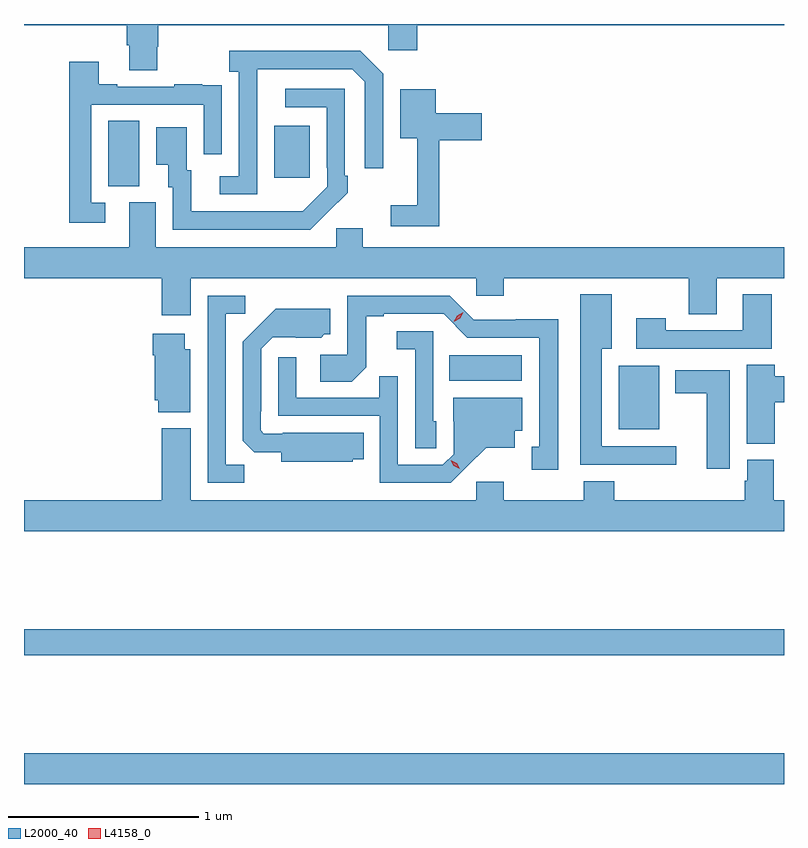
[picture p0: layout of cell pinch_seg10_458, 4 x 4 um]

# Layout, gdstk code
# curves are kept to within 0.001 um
import gdstk
lib = gdstk.Library(unit=1e-6, precision=1e-09)
def R(c, l, rs):  # rectangles x0, y0, x1, y1
    for r in rs: c.add(gdstk.rectangle(r[:2], r[2:], *l))
def P(c, l, *ps):  # polygons
    for p in ps: c.add(gdstk.Polygon(p, *l))
L2000_40 = (2000, 40)
L4158_0 = (4158, 0)

pinch_seg10_458 = lib.new_cell('pinch_seg10_458')
R(pinch_seg10_458, L2000_40, [(280.317,1296.322,284.317,1296.484), (280.317,1297,284.317,1297.136), (283.448,1298.189,283.66,1298.524), (282.556,1298.444,282.937,1298.578), (280.76,1299.469,280.924,1299.812), (281.633,1299.513,281.821,1299.787)])
P(pinch_seg10_458, L2000_40, [(281.019,1300.203),(281.024,1300.203),(281.024,1300.316),(282.234,1300.316),(282.234,1300.185),(282.386,1300.185),(282.386,1300.316),(284.317,1300.316),(284.317,1300.322),(280.317,1300.322),(280.317,1300.316),(280.859,1300.316),(280.859,1300.21),(280.871,1300.21),(280.871,1300.078),(281.019,1300.078)],
  [(281.544,1299.883),(281.545,1300.083),(282.045,1300.083),(282.111,1300.017),(282.111,1299.564),(282.207,1299.564),(282.207,1300.059),(282.086,1300.18),(281.397,1300.18),(281.397,1300.07),(281.448,1300.07),(281.448,1299.522),(281.346,1299.522),(281.346,1299.426),(281.544,1299.426)],
  [(280.744,1299.381),(280.671,1299.381),(280.671,1299.897),(281.262,1299.897),(281.262,1299.636),(281.358,1299.636),(281.358,1299.89),(281.357,1299.89),(281.357,1299.999),(281.255,1299.999),(281.255,1300.006),(281.107,1300.006),(281.107,1299.993),(280.807,1299.993),(280.807,1300.006),(280.711,1300.006),(280.711,1300.123),(280.555,1300.123),(280.555,1299.276),(280.744,1299.276)],
  [(281.915,1299.331),(281.916,1299.33),(282.021,1299.435),(282.021,1299.523),(282.006,1299.523),(282.006,1299.981),(281.691,1299.981),(281.691,1299.885),(281.91,1299.885),(281.91,1299.565),(281.913,1299.565),(281.913,1299.465),(281.785,1299.337),(281.197,1299.336),(281.197,1299.552),(281.173,1299.552),(281.173,1299.778),(281.012,1299.778),(281.012,1299.581),(281.075,1299.581),(281.075,1299.462),(281.1,1299.462),(281.1,1299.24),(281.824,1299.24)],
  [(282.503,1299.71),(282.727,1299.71),(282.727,1299.852),(282.484,1299.852),(282.484,1299.979),(282.296,1299.979),(282.296,1299.722),(282.386,1299.722),(282.386,1299.367),(282.246,1299.367),(282.246,1299.258),(282.503,1299.258)],
  [(281.194,1298.984),(282.696,1298.984),(282.696,1298.891),(282.843,1298.891),(282.843,1298.984),(283.816,1298.984),(283.816,1298.794),(283.963,1298.794),(283.963,1298.984),(284.317,1298.984),(284.317,1299.148),(282.1,1299.148),(282.1,1299.246),(281.961,1299.246),(281.961,1299.148),(281.011,1299.148),(281.011,1299.384),(280.871,1299.384),(280.871,1299.148),(280.317,1299.148),(280.317,1298.984),(281.042,1298.984),(281.042,1298.79),(281.194,1298.79)],
  [(284.252,1298.899),(284.099,1298.899),(284.099,1298.709),(283.695,1298.709),(283.695,1298.773),(283.539,1298.773),(283.539,1298.613),(284.252,1298.613)],
  [(283.75,1298.1),(283.357,1298.1),(283.357,1298.612),(283.411,1298.612),(283.411,1298.899),(283.244,1298.899),(283.244,1298.003),(283.75,1298.003)],
  [(281.475,1298.003),(281.379,1298.003),(281.379,1298.796),(281.482,1298.796),(281.482,1298.892),(281.283,1298.892),(281.283,1297.908),(281.475,1297.908)],
  [(283.129,1298.768),(282.906,1298.768),(282.906,1298.766),(282.684,1298.766),(282.558,1298.892),(282.018,1298.892),(282.018,1298.58),(281.877,1298.58),(281.877,1298.44),(282.041,1298.44),(282.117,1298.516),(282.117,1298.784),(282.211,1298.784),(282.211,1298.796),(282.525,1298.796),(282.651,1298.67),(283.028,1298.67),(283.028,1298.097),(282.989,1298.097),(282.989,1297.977),(283.129,1297.977)],
  [(282.048,1298.03),(282.104,1298.03),(282.104,1298.17),(281.68,1298.17),(281.68,1298.166),(281.58,1298.166),(281.562,1298.184),(281.562,1298.284),(281.565,1298.284),(281.565,1298.613),(281.625,1298.673),(281.882,1298.672),(281.898,1298.688),(281.929,1298.688),(281.929,1298.824),(281.641,1298.824),(281.469,1298.65),(281.469,1298.128),(281.528,1298.069),(281.672,1298.069),(281.672,1298.018),(282.048,1298.018)],
  [(282.486,1298.232),(282.471,1298.232),(282.471,1298.706),(282.279,1298.706),(282.279,1298.609),(282.375,1298.609),(282.375,1298.089),(282.486,1298.089)],
  [(281.191,1298.61),(281.164,1298.61),(281.164,1298.692),(280.994,1298.692),(280.994,1298.579),(281.006,1298.579),(281.006,1298.343),(281.024,1298.343),(281.024,1298.279),(281.191,1298.279)],
  [(282.646,1297.991),(282.749,1298.093),(282.901,1298.093),(282.901,1298.18),(282.94,1298.18),(282.94,1298.356),(282.575,1298.356),(282.575,1298.232),(282.579,1298.232),(282.579,1298.058),(282.522,1298.001),(282.285,1298.001),(282.285,1298.468),(282.187,1298.468),(282.187,1298.355),(281.751,1298.355),(281.751,1298.569),(281.655,1298.569),(281.655,1298.259),(282.189,1298.259),(282.189,1297.908),(282.562,1297.908)],
  [(284.267,1298.332),(284.317,1298.332),(284.317,1298.468),(284.267,1298.468),(284.267,1298.528),(284.12,1298.528),(284.12,1298.113),(284.267,1298.113)],
  [(284.032,1298.5),(283.745,1298.5),(283.745,1298.378),(283.91,1298.378),(283.91,1297.98),(284.032,1297.98)],
  [(284.317,1297.816),(284.264,1297.816),(284.264,1298.028),(284.123,1298.028),(284.123,1297.917),(284.111,1297.917),(284.111,1297.816),(283.424,1297.816),(283.424,1297.915),(283.264,1297.915),(283.264,1297.816),(282.843,1297.816),(282.843,1297.912),(282.696,1297.912),(282.696,1297.816),(281.194,1297.816),(281.194,1298.194),(281.042,1298.194),(281.042,1297.816),(280.317,1297.816),(280.317,1297.652),(284.317,1297.652)])
P(pinch_seg10_458, L4158_0, [(282.58,1298.754),(282.58,1298.754),(282.598,1298.787),(282.629,1298.806),(282.63,1298.806),(282.63,1298.806),(282.612,1298.773),(282.58,1298.754)],
  [(282.61,1297.98),(282.58,1297.996),(282.563,1298.025),(282.563,1298.026),(282.564,1298.026),(282.594,1298.01),(282.61,1297.98),(282.61,1297.98)])

lib.write_gds('pinch_seg10_458.gds')
